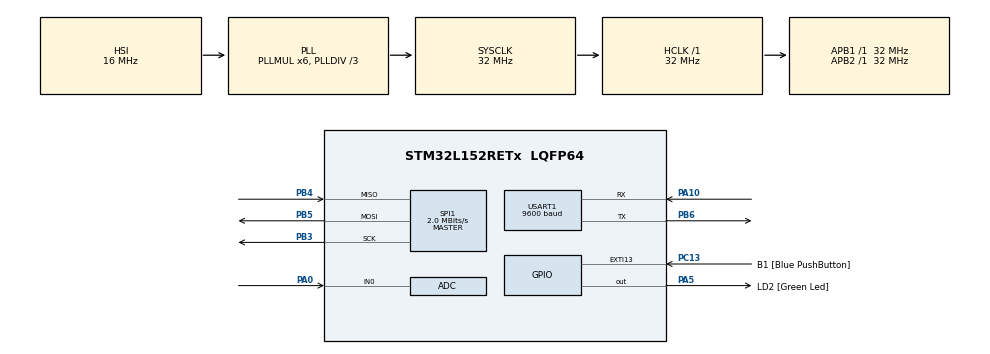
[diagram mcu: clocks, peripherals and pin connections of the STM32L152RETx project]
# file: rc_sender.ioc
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ADC.Channel-0\#ChannelRegularConversion=ADC_CHANNEL_0
ADC.NbrOfConversionFlag=1
ADC.Rank-0\#ChannelRegularConversion=1
ADC.SamplingTime-0\#ChannelRegularConversion=ADC_SAMPLETIME_4CYCLES
Mcu.Family=STM32L1
Mcu.Name=STM32L152RETx
Mcu.Package=LQFP64
NVIC.PriorityGroup=NVIC_PRIORITYGROUP_0
PA0-WKUP1.Mode=IN0
PA0-WKUP1.Signal=ADC_IN0
PA10.Mode=Asynchronous
PA10.Signal=USART1_RX
PA13.GPIO_Label=TMS
PA13.Mode=Serial_Wire
PA13.Signal=SYS_JTMS-SWDIO
PA14.GPIO_Label=TCK
PA14.Mode=Serial_Wire
PA14.Signal=SYS_JTCK-SWCLK
PA2.GPIO_Label=USART_TX
PA2.Signal=USART2_TX
PA3.GPIO_Label=USART_RX
PA3.Signal=USART2_RX
PA5.GPIO_Label=LD2 [Green Led]
PA5.Signal=GPIO_Output
PB3.Mode=Full_Duplex_Master
PB3.Signal=SPI1_SCK
PB4.Mode=Full_Duplex_Master
PB4.Signal=SPI1_MISO
PB5.Mode=Full_Duplex_Master
PB5.Signal=SPI1_MOSI
PB6.Mode=Asynchronous
PB6.Signal=USART1_TX
PC13-WKUP2.GPIO_Label=B1 [Blue PushButton]
PC13-WKUP2.Signal=GPXTI13
PC14-OSC32_IN.Mode=LSE-External-Oscillator
PC14-OSC32_IN.Signal=RCC_OSC32_IN
PC15-OSC32_OUT.Mode=LSE-External-Oscillator
PC15-OSC32_OUT.Signal=RCC_OSC32_OUT
PH0-OSC_IN.Mode=HSE-External-Clock-Source
PH0-OSC_IN.Signal=RCC_OSC_IN
PH1-OSC_OUT.Signal=RCC_OSC_OUT
ProjectManager.HeapSize=0x200
ProjectManager.StackSize=0x400
ProjectManager.TargetToolchain=STM32CubeIDE
RCC.48MHZClocksFreq_Value=48000000
RCC.AHBFreq_Value=32000000
RCC.APB1Freq_Value=32000000
RCC.APB1TimFreq_Value=32000000
RCC.APB2Freq_Value=32000000
RCC.APB2TimFreq_Value=32000000
RCC.HCLKFreq_Value=32000000
RCC.HSE_VALUE=8000000
RCC.HSI_VALUE=16000000
RCC.MSI_VALUE=2097000
RCC.PLLDIV=RCC_PLL_DIV3
RCC.PLLMUL=RCC_PLL_MUL6
RCC.RTCClockSelectionVirtual=RCC_RTCCLKSOURCE_LSE
RCC.SYSCLKFreq_VALUE=32000000
RCC.SYSCLKSource=RCC_SYSCLKSOURCE_PLLCLK
RCC.USBOutput=48000000
RCC.VCOOutputFreq_Value=96000000
SPI1.BaudRatePrescaler=SPI_BAUDRATEPRESCALER_16
SPI1.CalculateBaudRate=2.0 MBits/s
SPI1.Direction=SPI_DIRECTION_2LINES
SPI1.Mode=SPI_MODE_MASTER
SPI1.VirtualType=VM_MASTER
USART1.BaudRate=9600
USART1.VirtualMode=VM_ASYNC
board=NUCLEO-L152RE

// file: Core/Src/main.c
/* USER CODE BEGIN Header */
/**
  ******************************************************************************
  * @file           : main.c
  * @brief          : Main program body
  ******************************************************************************
  * @attention
  *
  * Copyright (c) 2022 STMicroelectronics.
  * All rights reserved.
  *
  * This software is licensed under terms that can be found in the LICENSE file
  * in the root directory of this software component.
  * If no LICENSE file comes with this software, it is provided AS-IS.
  *
  ******************************************************************************
  */
/* USER CODE END Header */
#include "main.h"

 ADC_HandleTypeDef hadc;

SPI_HandleTypeDef hspi1;

UART_HandleTypeDef huart1;

void SystemClock_Config(void);
static void MX_GPIO_Init(void);
static void MX_ADC_Init(void);
static void MX_SPI1_Init(void);
static void MX_USART1_UART_Init(void);

/* USER CODE BEGIN 0 */
#define MIN(x, y) (((x) < (y)) ? (x) : (y))

/*
 * Function: state_init
 * --------------------
 * initializes the starting position of each encoder to the nearest 90 degree
 * increment and sets those values into the turn state object, keeping track
 * of current position
 *
 * turn_state: the state we want to declare
 * encoder_pos: the current positions of the encoders
 */
void state_init(uint8_t * turn_state, uint8_t * encoder_pos) {
	uint8_t value;
	for(uint8_t i = 0; i < 6; ++i) {
		value = encoder_pos(i);
		if(value >= 0 && value <=3) {
			value = 1;
		} else if (value >= 4 && value <= 7) {
			value = 5;
		} else if (value >= 8 && value <= 11) {
			value = 9;
		} else {
			value = 13;
		}

		turn_state[i] = value;
	}
}

/*
 * Function: send_pos
 * ------------------
 * cross checks the current encoder position with the last observable action
 * and, if a 90 degree or higher turn is detected, fire a custom packet through
 * UART for the main cube to receive
 *
 * turn_state: the state of the controller cube
 * encoder_pos: the current positions of the encoders
 */
void send_pos(uint8_t * turn_state, uint8_t * encoder_pos) {
	int value;
	int face_state;

	for(uint_t i = 0; i < 6; ++i){
		// get individual face value and state
		value = encoder_pos[i];
		face_state = turn_state[i];

		// determine the distance cw and ccw to 90 degree turn
		uint8_t distCW = 0;
		uint8_t distCCW = 0;

		uint8_t index = face_state;
		while(index != value) {
			distCW++;
			index = (index + 1) % 16;
		}

		index = face_state;
		while(index != value) {
			distCCW++;
			index = (index - 1 + 16) % 16;
		}

		int distance = MIN(distCW, distCCW);

		// if distance cw or ccw is > 4, fire a packet

		if(distance >= 4 && distCW < distCCW) {
			// turn CW
			unsigned char str[4] = {'s','b', 'b', 'e'};
			str[1] = face + '0';
			str[2] = 'R';
			HAL_UART_Transmit(&huart3, str, 4, 500);
			turn_state[face] = value;
		} else if (distance >= 4 && distCW > distCCW) {
			// turn CCW
			unsigned char str[4] = {'s','b', 'b', 'e'};
			str[1] = face + '0';
			str[2] = 'L';
			HAL_UART_Transmit(&huart3, str, 4, 500);
			turn_state[face] = value;
		}
	}
}
/* USER CODE END 0 */

int main(void)
{

  /* MCU Configuration--------------------------------------------------------*/

  /* Reset of all peripherals, Initializes the Flash interface and the Systick. */
  HAL_Init();

  /* Configure the system clock */
  SystemClock_Config();

  /* Initialize all configured peripherals */
  MX_GPIO_Init();
  MX_ADC_Init();
  MX_SPI1_Init();
  MX_USART1_UART_Init();
  /* USER CODE BEGIN 2 */

  // private variables
  uint8_t turn_state[6];}

  // init encoders and starting state
  init_encoders();
  refresh_encoder_states();
  state_init(&turn_state, &encoder_pos);

  /* USER CODE END 2 */

  /* Infinite loop */
  while (1)
  {

	/* USER CODE BEGIN 3 */
	refresh_encoder_states();
	send_pos(&turn_state, &encoder_pos);
  }
  /* USER CODE END 3 */
}

void SystemClock_Config(void)
{
  RCC_OscInitTypeDef RCC_OscInitStruct = {0};
  RCC_ClkInitTypeDef RCC_ClkInitStruct = {0};

  /** Configure the main internal regulator output voltage
  */
  __HAL_PWR_VOLTAGESCALING_CONFIG(PWR_REGULATOR_VOLTAGE_SCALE1);

  /** Initializes the RCC Oscillators according to the specified parameters
  * in the RCC_OscInitTypeDef structure.
  */
  RCC_OscInitStruct.OscillatorType = RCC_OSCILLATORTYPE_HSI;
  RCC_OscInitStruct.HSIState = RCC_HSI_ON;
  RCC_OscInitStruct.HSICalibrationValue = RCC_HSICALIBRATION_DEFAULT;
  RCC_OscInitStruct.PLL.PLLState = RCC_PLL_ON;
  RCC_OscInitStruct.PLL.PLLSource = RCC_PLLSOURCE_HSI;
  RCC_OscInitStruct.PLL.PLLMUL = RCC_PLL_MUL6;
  RCC_OscInitStruct.PLL.PLLDIV = RCC_PLL_DIV3;
  if (HAL_RCC_OscConfig(&RCC_OscInitStruct) != HAL_OK)
  {
    Error_Handler();
  }

  /** Initializes the CPU, AHB and APB buses clocks
  */
  RCC_ClkInitStruct.ClockType = RCC_CLOCKTYPE_HCLK|RCC_CLOCKTYPE_SYSCLK
                              |RCC_CLOCKTYPE_PCLK1|RCC_CLOCKTYPE_PCLK2;
  RCC_ClkInitStruct.SYSCLKSource = RCC_SYSCLKSOURCE_PLLCLK;
  RCC_ClkInitStruct.AHBCLKDivider = RCC_SYSCLK_DIV1;
  RCC_ClkInitStruct.APB1CLKDivider = RCC_HCLK_DIV1;
  RCC_ClkInitStruct.APB2CLKDivider = RCC_HCLK_DIV1;

  if (HAL_RCC_ClockConfig(&RCC_ClkInitStruct, FLASH_LATENCY_1) != HAL_OK)
  {
    Error_Handler();
  }
}

static void MX_ADC_Init(void)
{

  ADC_ChannelConfTypeDef sConfig = {0};

  /** Configure the global features of the ADC (Clock, Resolution, Data Alignment and number of conversion)
  */
  hadc.Instance = ADC1;
  hadc.Init.ClockPrescaler = ADC_CLOCK_ASYNC_DIV1;
  hadc.Init.Resolution = ADC_RESOLUTION_12B;
  hadc.Init.DataAlign = ADC_DATAALIGN_RIGHT;
  hadc.Init.ScanConvMode = ADC_SCAN_DISABLE;
  hadc.Init.EOCSelection = ADC_EOC_SEQ_CONV;
  hadc.Init.LowPowerAutoWait = ADC_AUTOWAIT_DISABLE;
  hadc.Init.LowPowerAutoPowerOff = ADC_AUTOPOWEROFF_DISABLE;
  hadc.Init.ChannelsBank = ADC_CHANNELS_BANK_A;
  hadc.Init.ContinuousConvMode = DISABLE;
  hadc.Init.NbrOfConversion = 1;
  hadc.Init.DiscontinuousConvMode = DISABLE;
  hadc.Init.ExternalTrigConv = ADC_SOFTWARE_START;
  hadc.Init.ExternalTrigConvEdge = ADC_EXTERNALTRIGCONVEDGE_NONE;
  hadc.Init.DMAContinuousRequests = DISABLE;
  if (HAL_ADC_Init(&hadc) != HAL_OK)
  {
    Error_Handler();
  }

  /** Configure for the selected ADC regular channel its corresponding rank in the sequencer and its sample time.
  */
  sConfig.Channel = ADC_CHANNEL_0;
  sConfig.Rank = ADC_REGULAR_RANK_1;
  sConfig.SamplingTime = ADC_SAMPLETIME_4CYCLES;
  if (HAL_ADC_ConfigChannel(&hadc, &sConfig) != HAL_OK)
  {
    Error_Handler();
  }

}

static void MX_SPI1_Init(void)
{

  /* SPI1 parameter configuration*/
  hspi1.Instance = SPI1;
  hspi1.Init.Mode = SPI_MODE_MASTER;
  hspi1.Init.Direction = SPI_DIRECTION_2LINES;
  hspi1.Init.DataSize = SPI_DATASIZE_8BIT;
  hspi1.Init.CLKPolarity = SPI_POLARITY_LOW;
  hspi1.Init.CLKPhase = SPI_PHASE_1EDGE;
  hspi1.Init.NSS = SPI_NSS_SOFT;
  hspi1.Init.BaudRatePrescaler = SPI_BAUDRATEPRESCALER_16;
  hspi1.Init.FirstBit = SPI_FIRSTBIT_MSB;
  hspi1.Init.TIMode = SPI_TIMODE_DISABLE;
  hspi1.Init.CRCCalculation = SPI_CRCCALCULATION_DISABLE;
  hspi1.Init.CRCPolynomial = 10;
  if (HAL_SPI_Init(&hspi1) != HAL_OK)
  {
    Error_Handler();
  }

}

static void MX_USART1_UART_Init(void)
{

  huart1.Instance = USART1;
  huart1.Init.BaudRate = 9600;
  huart1.Init.WordLength = UART_WORDLENGTH_8B;
  huart1.Init.StopBits = UART_STOPBITS_1;
  huart1.Init.Parity = UART_PARITY_NONE;
  huart1.Init.Mode = UART_MODE_TX_RX;
  huart1.Init.HwFlowCtl = UART_HWCONTROL_NONE;
  huart1.Init.OverSampling = UART_OVERSAMPLING_16;
  if (HAL_UART_Init(&huart1) != HAL_OK)
  {
    Error_Handler();
  }

}

static void MX_GPIO_Init(void)
{
  GPIO_InitTypeDef GPIO_InitStruct = {0};

  /* GPIO Ports Clock Enable */
  __HAL_RCC_GPIOC_CLK_ENABLE();
  __HAL_RCC_GPIOH_CLK_ENABLE();
  __HAL_RCC_GPIOA_CLK_ENABLE();
  __HAL_RCC_GPIOB_CLK_ENABLE();

  /*Configure GPIO pin Output Level */
  HAL_GPIO_WritePin(LD2_GPIO_Port, LD2_Pin, GPIO_PIN_RESET);

  /*Configure GPIO pin : B1_Pin */
  GPIO_InitStruct.Pin = B1_Pin;
  GPIO_InitStruct.Mode = GPIO_MODE_IT_RISING;
  GPIO_InitStruct.Pull = GPIO_NOPULL;
  HAL_GPIO_Init(B1_GPIO_Port, &GPIO_InitStruct);

  /*Configure GPIO pins : USART_TX_Pin USART_RX_Pin */
  GPIO_InitStruct.Pin = USART_TX_Pin|USART_RX_Pin;
  GPIO_InitStruct.Mode = GPIO_MODE_AF_PP;
  GPIO_InitStruct.Pull = GPIO_NOPULL;
  GPIO_InitStruct.Speed = GPIO_SPEED_FREQ_VERY_HIGH;
  GPIO_InitStruct.Alternate = GPIO_AF7_USART2;
  HAL_GPIO_Init(GPIOA, &GPIO_InitStruct);

  /*Configure GPIO pin : LD2_Pin */
  GPIO_InitStruct.Pin = LD2_Pin;
  GPIO_InitStruct.Mode = GPIO_MODE_OUTPUT_PP;
  GPIO_InitStruct.Pull = GPIO_NOPULL;
  GPIO_InitStruct.Speed = GPIO_SPEED_FREQ_LOW;
  HAL_GPIO_Init(LD2_GPIO_Port, &GPIO_InitStruct);

}

void Error_Handler(void)
{
  __disable_irq();
  while (1)
  {
  }
}
